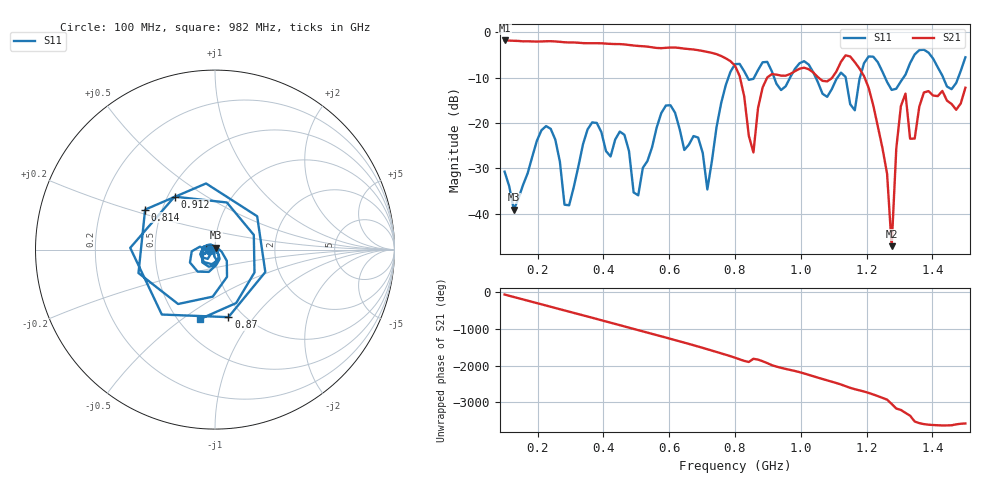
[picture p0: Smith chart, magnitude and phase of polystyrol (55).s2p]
! NanoVNA-App
! Date: 2025-09-25 15:30:19
! Start: 100MHz Stop: 1,5GHz Points: 101
! S-Parameter data: F S11 S21 S12 S22
# Hz S RI R 50
!  Frequency  S11_Real  S11_Imag  S21_Real  S21_Imag  S12_Real  S12_Imag  S22_Real  S22_Imag
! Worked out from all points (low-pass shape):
!   101 points, 100 MHz to 1.5 GHz, reference 50 ohm
!   highest |S21| = -1.80 dB at 100 MHz (marker M1); lowest = -47.1 dB at 1.276 GHz (marker M2)
!   |S21| within 3 dB of the highest: start of sweep to 743 MHz
!   lowest |S11| = -39.1 dB at 128 MHz (marker M3), VSWR 1.02, Z = 50.3 + j1.06 ohm
!   |S11| at or under -10 dB: start of sweep to 779.8 MHz; 1.045 GHz to 1.111 GHz (65.77 MHz wide, 6.1 % of centre); 1.256 GHz to 1.312 GHz (55.46 MHz wide, 4.32 % of centre) (the widest 3 of 7)
!   S12 and S22 are empty: the file has one direction only
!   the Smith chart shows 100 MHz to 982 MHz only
!   S11 on the Smith chart (normalised r, x): 100 MHz: 0.94, -0.01; 814 MHz: 0.40, +0.23; 870 MHz: 0.85, -0.75; 912 MHz: 0.54, +0.37; 982 MHz: 0.64, -0.59
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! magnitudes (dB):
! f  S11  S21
! 100 MHz  -30.7  -1.8
! 128 MHz  -39.1  -1.9
! 212 MHz  -21.6  -2.0
! 282 MHz  -38.0  -2.2
! 338 MHz  -24.7  -2.4
! 464 MHz  -22.6  -2.7
! 506 MHz  -35.9  -3.0
! 576 MHz  -17.8  -3.5
! 716 MHz  -34.6  -4.3
! 800 MHz  -7.0  -7.4
! 814 MHz  -7.0  -9.6
! 856 MHz  -10.3  -26.5
! 870 MHz  -8.3  -16.7
! 912 MHz  -8.6  -9.2
! 982 MHz  -8.1  -8.6
! 1.038 GHz  -8.8  -8.9
! 1.192 GHz  -6.8  -9.7
! 1.276 GHz  -12.7  -47.1
! 1.29 GHz  -12.4  -25.6
! 1.318 GHz  -9.3  -13.5
! 1.346 GHz  -4.9  -23.4
! 1.5 GHz  -5.5  -12.2
